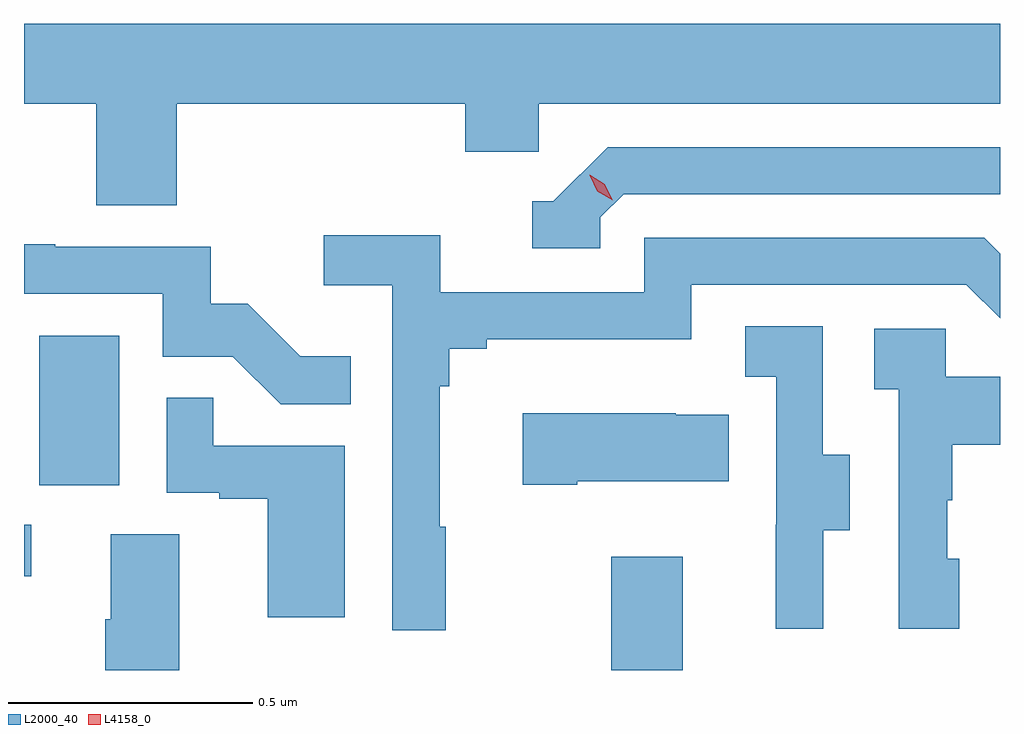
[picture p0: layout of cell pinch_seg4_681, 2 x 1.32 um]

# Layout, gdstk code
import gdstk
lib = gdstk.Library(unit=1e-6, precision=1e-09)
def R(c, l, rs):  # rectangles x0, y0, x1, y1
    for r in rs: c.add(gdstk.rectangle(r[:2], r[2:], *l))
def P(c, l, *ps):  # polygons
    for p in ps: c.add(gdstk.Polygon(p, *l))
L2000_40 = (2000, 40)
L4158_0 = (4158, 0)

pinch_seg4_681 = lib.new_cell('pinch_seg4_681')
R(pinch_seg4_681, L2000_40, [(1130.86,763.691,1131.007,763.924), (1129.657,763.884,1129.672,763.989), (1129.688,764.07,1129.852,764.377)])
P(pinch_seg4_681, L2000_40, [(1129.97,764.852),(1130.561,764.852),(1130.561,764.754),(1130.712,764.754),(1130.712,764.852),(1131.657,764.852),(1131.657,765.016),(1129.657,765.016),(1129.657,764.852),(1129.805,764.852),(1129.805,764.644),(1129.97,764.644)],
  [(1130.838,764.619),(1130.886,764.667),(1131.657,764.667),(1131.657,764.763),(1130.853,764.763),(1130.742,764.652),(1130.699,764.652),(1130.699,764.556),(1130.838,764.556)],
  [(1130.521,763.985),(1130.509,763.985),(1130.509,764.273),(1130.528,764.273),(1130.528,764.35),(1130.605,764.35),(1130.605,764.369),(1131.024,764.369),(1131.024,764.481),(1131.588,764.481),(1131.657,764.412),(1131.657,764.545),(1131.625,764.577),(1130.928,764.577),(1130.928,764.466),(1130.51,764.466),(1130.51,764.582),(1130.271,764.582),(1130.271,764.48),(1130.412,764.48),(1130.412,763.773),(1130.521,763.773)],
  [(1130.327,764.335),(1130.223,764.335),(1130.116,764.442),(1130.04,764.442),(1130.04,764.559),(1129.721,764.559),(1129.721,764.564),(1129.657,764.564),(1129.657,764.463),(1129.941,764.463),(1129.941,764.334),(1130.085,764.334),(1130.183,764.236),(1130.327,764.236)],
  [(1131.295,763.978),(1131.349,763.978),(1131.349,764.133),(1131.294,764.133),(1131.294,764.396),(1131.135,764.396),(1131.135,764.293),(1131.198,764.293),(1131.198,763.989),(1131.197,763.989),(1131.197,763.776),(1131.295,763.776)],
  [(1131.574,763.92),(1131.549,763.92),(1131.549,764.039),(1131.559,764.039),(1131.559,764.153),(1131.657,764.153),(1131.657,764.293),(1131.546,764.293),(1131.546,764.391),(1131.399,764.391),(1131.399,764.267),(1131.45,764.267),(1131.45,763.776),(1131.574,763.776)],
  [(1130.314,764.151),(1130.045,764.151),(1130.045,764.249),(1129.95,764.249),(1129.95,764.055),(1130.057,764.055),(1130.057,764.043),(1130.156,764.043),(1130.156,763.8),(1130.314,763.8)],
  [(1130.791,764.078),(1131.101,764.078),(1131.101,764.215),(1130.993,764.215),(1130.993,764.218),(1130.679,764.218),(1130.679,764.071),(1130.791,764.071)],
  [(1129.975,763.97),(1129.835,763.97),(1129.835,763.796),(1129.823,763.796),(1129.823,763.691),(1129.975,763.691)])
P(pinch_seg4_681, L4158_0, [(1130.863,764.654),(1130.832,764.673),(1130.816,764.705),(1130.816,764.706),(1130.816,764.706),(1130.847,764.687),(1130.863,764.654),(1130.863,764.654)])

lib.write_gds('pinch_seg4_681.gds')
